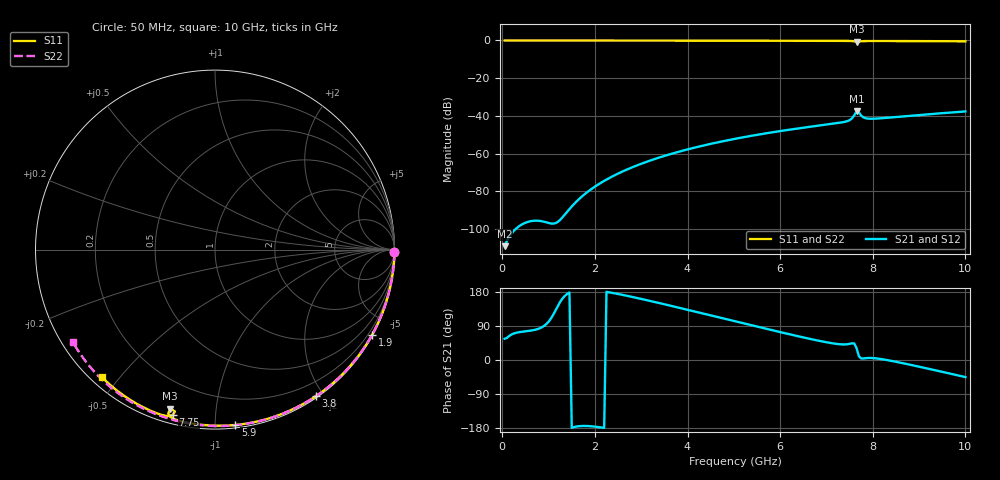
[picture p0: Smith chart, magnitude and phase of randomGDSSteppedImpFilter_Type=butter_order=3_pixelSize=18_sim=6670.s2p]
! freq	dB(S11)	phase(S11)	dB(S12)	phase(S12)
!  dB(S21)	phase(S21)	dB(S22)	phase(S22)
!S-par simulation data
#  GHz  S  DB  R 50
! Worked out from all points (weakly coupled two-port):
!   200 points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, 50 MHz to 10 GHz, reference 50 ohm
!   highest |S21| = -37.56 dB at 7.65 GHz (marker M1); lowest = -109.1 dB at 50 MHz (marker M2)
!   lowest |S11| = -0.7 dB at 7.65 GHz (marker M3), VSWR 24.00, Z = 3.27 - j37.7 ohm
!   |S11| at or under -10 dB: nowhere
!   |S22| runs from -0.5 to 0.0 dB; largest |S21 - S12| = 0
!   S11 on the Smith chart (normalised r, x): 50 MHz: open; 1.9 GHz: 0.03, -3.94; 3.8 GHz: 0.02, -1.90; 5.9 GHz: 0.02, -1.12; 7.75 GHz: 0.04, -0.78; 10 GHz: 0.03, -0.45
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0.05  -0.00 -0.8  -109.14 56.0  -109.14 56.0  -0.00 -0.9
0.9  -0.02 -13.6  -96.17 89.8  -96.17 89.8  -0.02 -15.3
1.75  -0.03 -26.3  -82.14 -174.1  -82.14 -174.1  -0.04 -29.5
1.85  -0.04 -27.7  -80.18 -174.3  -80.18 -174.3  -0.04 -31.1
1.9  -0.04 -28.5  -79.26 -174.7  -79.26 -174.7  -0.04 -31.9
2.2  -0.04 -32.9  -74.51 -179.2  -74.51 -179.2  -0.05 -36.9
2.55  -0.05 -37.9  -70.05 173.0  -70.05 173.0  -0.05 -42.5
2.95  -0.06 -43.7  -65.89 162.6  -65.89 162.6  -0.06 -48.9
3.4  -0.07 -50.0  -62.03 150.0  -62.03 150.0  -0.07 -56.0
3.8  -0.08 -55.6  -59.12 138.4  -59.12 138.4  -0.08 -62.1
5.05  -0.11 -72.4  -52.07 101.4  -52.07 101.4  -0.12 -80.8
5.9  -0.14 -83.4  -48.46 76.5  -48.46 76.5  -0.16 -92.9
6.7  -0.18 -93.4  -45.63 54.2  -45.63 54.2  -0.20 -103.9
7.45  -0.25 -103.2  -42.79 41.5  -42.79 41.5  -0.25 -113.9
7.55  -0.32 -104.9  -41.39 44.0  -41.39 44.0  -0.26 -115.2
7.65  -0.72 -105.8  -37.56 31.2  -37.56 31.2  -0.27 -116.5
7.7  -0.64 -103.9  -38.10 10.1  -38.10 10.1  -0.27 -117.2
7.75  -0.43 -104.3  -39.87 3.9  -39.87 3.9  -0.27 -117.9
7.8  -0.35 -105.2  -40.85 4.0  -40.85 4.0  -0.27 -118.5
7.9  -0.30 -106.8  -41.47 5.3  -41.47 5.3  -0.28 -119.9
8.35  -0.30 -112.6  -40.95 -1.1  -40.95 -1.1  -0.32 -125.7
10  -0.45 -131.6  -37.66 -45.0  -37.66 -45.0  -0.50 -147.1
